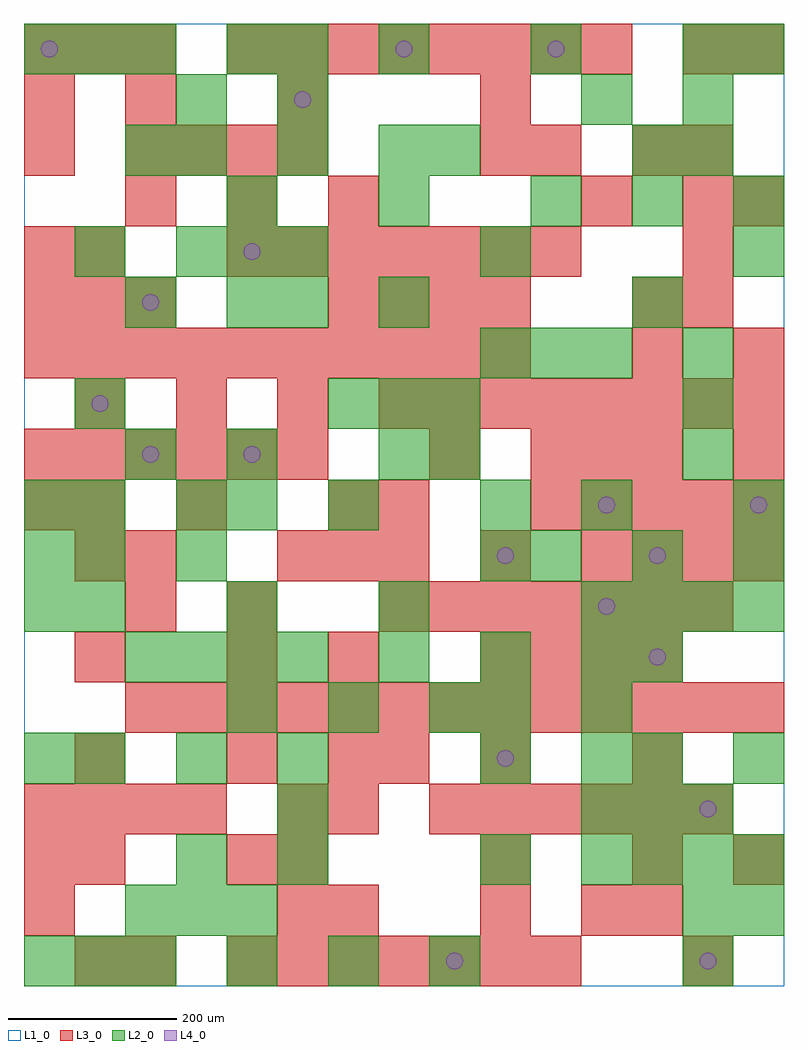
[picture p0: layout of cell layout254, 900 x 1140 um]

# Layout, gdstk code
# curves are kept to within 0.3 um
import gdstk
lib = gdstk.Library(unit=1e-6, precision=1e-09)
def R(c, l, rs):  # rectangles x0, y0, x1, y1
    for r in rs: c.add(gdstk.rectangle(r[:2], r[2:], *l))
def A(c, l, x, y, w, h, nx, ny, dx, dy):  # array of equal rectangles
    R(c, l, [(x+i*dx, y+j*dy, x+i*dx+w, y+j*dy+h) for i in range(nx) for j in range(ny)])
def P(c, l, *ps):  # polygons
    for p in ps: c.add(gdstk.Polygon(p, *l))
L1_0 = (1, 0)
L2_0 = (2, 0)
L3_0 = (3, 0)
L4_0 = (4, 0)

layout254 = lib.new_cell('layout254')
R(layout254, L1_0, [(0,0,900,1140)])
A(layout254, L2_0, 0, 0, 60, 60, 3, 2, 60, 1080)
A(layout254, L2_0, 240, 0, 60, 60, 3, 2, 120, 300)
A(layout254, L2_0, 120, 60, 60, 60, 3, 1, 60, 0)
A(layout254, L2_0, 660, 120, 60, 60, 4, 2, 60, 300)
A(layout254, L2_0, 660, 180, 60, 60, 3, 1, 60, 0)
A(layout254, L2_0, 60, 240, 60, 60, 3, 1, 120, 0)
A(layout254, L2_0, 840, 240, 60, 60, 1, 3, 0, 300)
A(layout254, L2_0, 120, 360, 60, 60, 4, 1, 60, 0)
A(layout254, L2_0, 420, 360, 60, 60, 3, 1, 120, 0)
A(layout254, L2_0, 0, 420, 60, 60, 1, 3, 0, 60)
A(layout254, L2_0, 60, 420, 60, 60, 3, 1, 180, 0)
A(layout254, L2_0, 600, 480, 60, 60, 3, 1, 120, 0)
A(layout254, L2_0, 120, 600, 60, 60, 1, 3, 0, 180)
A(layout254, L2_0, 780, 600, 60, 60, 1, 3, 0, 60)
A(layout254, L2_0, 360, 660, 60, 60, 3, 1, 60, 0)
A(layout254, L2_0, 540, 720, 60, 60, 3, 1, 60, 0)
A(layout254, L2_0, 180, 840, 60, 60, 3, 1, 60, 0)
A(layout254, L2_0, 240, 900, 60, 60, 3, 1, 180, 0)
A(layout254, L2_0, 180, 960, 60, 60, 3, 1, 120, 0)
A(layout254, L2_0, 420, 1080, 60, 60, 3, 1, 180, 0)
R(layout254, L2_0, [(780,0,840,60), (780,60,840,120), (840,60,900,120), (180,120,240,180), (300,120,360,180), (540,120,600,180), (300,180,360,240), (0,240,60,300), (540,240,600,300), (660,240,720,300), (720,240,780,300), (540,300,600,360), (660,300,720,360), (720,360,780,420), (60,480,120,540), (180,480,240,540), (540,480,600,540), (60,540,120,600), (180,540,240,600), (240,540,300,600), (360,540,420,600), (540,540,600,600), (660,540,720,600), (240,600,300,660), (420,600,480,660), (480,600,540,660), (60,660,120,720), (240,780,300,840), (300,780,360,840), (420,780,480,840), (720,780,780,840), (60,840,120,900), (540,840,600,900), (720,900,780,960), (840,900,900,960), (480,960,540,1020), (720,960,780,1020), (780,960,840,1020), (180,1020,240,1080), (300,1020,360,1080), (660,1020,720,1080), (780,1020,840,1080), (240,1080,300,1140), (300,1080,360,1140), (840,1080,900,1140)])
A(layout254, L3_0, 60, 0, 60, 60, 1, 5, 0, 120)
A(layout254, L3_0, 240, 0, 60, 60, 7, 2, 60, 840)
A(layout254, L3_0, 300, 60, 60, 60, 1, 3, 0, 60)
A(layout254, L3_0, 240, 120, 60, 60, 1, 3, 0, 120)
A(layout254, L3_0, 0, 180, 60, 60, 4, 1, 60, 0)
A(layout254, L3_0, 480, 180, 60, 60, 6, 1, 60, 0)
A(layout254, L3_0, 120, 300, 60, 60, 13, 1, 60, 0)
A(layout254, L3_0, 540, 360, 60, 60, 4, 1, 60, 0)
A(layout254, L3_0, 420, 420, 60, 60, 7, 1, 60, 0)
A(layout254, L3_0, 300, 480, 60, 60, 3, 1, 60, 0)
A(layout254, L3_0, 660, 480, 60, 60, 4, 1, 60, 0)
A(layout254, L3_0, 600, 540, 60, 60, 5, 1, 60, 0)
A(layout254, L3_0, 0, 600, 60, 60, 6, 1, 60, 0)
A(layout254, L3_0, 600, 600, 60, 60, 3, 1, 60, 0)
A(layout254, L3_0, 60, 660, 60, 60, 4, 1, 120, 0)
A(layout254, L3_0, 480, 660, 60, 60, 7, 1, 60, 0)
A(layout254, L3_0, 0, 720, 60, 60, 10, 1, 60, 0)
A(layout254, L3_0, 840, 720, 60, 60, 1, 3, 0, 180)
A(layout254, L3_0, 0, 780, 60, 60, 3, 2, 60, 300)
A(layout254, L3_0, 360, 780, 60, 60, 4, 1, 60, 0)
A(layout254, L3_0, 780, 780, 60, 60, 1, 4, 0, 60)
A(layout254, L3_0, 120, 900, 60, 60, 3, 1, 120, 0)
A(layout254, L3_0, 120, 960, 60, 60, 4, 1, 60, 0)
A(layout254, L3_0, 240, 1080, 60, 60, 8, 1, 60, 0)
R(layout254, L3_0, [(120,0,180,60), (780,0,840,60), (0,60,60,120), (360,60,420,120), (540,60,600,120), (660,60,720,120), (720,60,780,120), (0,120,60,180), (540,120,600,180), (720,120,780,180), (840,120,900,180), (360,180,420,240), (360,240,420,300), (420,240,480,300), (540,240,600,300), (720,240,780,300), (360,360,420,420), (120,420,180,480), (240,420,300,480), (120,480,180,540), (540,480,600,540), (0,540,60,600), (60,540,120,600), (180,540,240,600), (360,540,420,600), (420,540,480,600), (480,600,540,660), (840,600,900,660), (720,720,780,780), (720,780,780,840), (0,840,60,900), (60,840,120,900), (660,900,720,960), (0,960,60,1020), (540,960,600,1020), (600,960,660,1020), (720,960,780,1020), (0,1020,60,1080), (120,1020,180,1080), (300,1020,360,1080), (540,1020,600,1080), (780,1080,840,1140)])
P(layout254, L4_0, [(40,1110),(39.239,1113.827),(37.071,1117.071),(33.827,1119.239),(30,1120),(26.173,1119.239),(22.929,1117.071),(20.761,1113.827),(20,1110),(20.761,1106.173),(22.929,1102.929),(26.173,1100.761),(30,1100),(33.827,1100.761),(37.071,1102.929),(39.239,1106.173)],
  [(100,690),(99.239,693.827),(97.071,697.071),(93.827,699.239),(90,700),(86.173,699.239),(82.929,697.071),(80.761,693.827),(80,690),(80.761,686.173),(82.929,682.929),(86.173,680.761),(90,680),(93.827,680.761),(97.071,682.929),(99.239,686.173)],
  [(160,630),(159.239,633.827),(157.071,637.071),(153.827,639.239),(150,640),(146.173,639.239),(142.929,637.071),(140.761,633.827),(140,630),(140.761,626.173),(142.929,622.929),(146.173,620.761),(150,620),(153.827,620.761),(157.071,622.929),(159.239,626.173)],
  [(160,810),(159.239,813.827),(157.071,817.071),(153.827,819.239),(150,820),(146.173,819.239),(142.929,817.071),(140.761,813.827),(140,810),(140.761,806.173),(142.929,802.929),(146.173,800.761),(150,800),(153.827,800.761),(157.071,802.929),(159.239,806.173)],
  [(280,630),(279.239,633.827),(277.071,637.071),(273.827,639.239),(270,640),(266.173,639.239),(262.929,637.071),(260.761,633.827),(260,630),(260.761,626.173),(262.929,622.929),(266.173,620.761),(270,620),(273.827,620.761),(277.071,622.929),(279.239,626.173)],
  [(280,870),(279.239,873.827),(277.071,877.071),(273.827,879.239),(270,880),(266.173,879.239),(262.929,877.071),(260.761,873.827),(260,870),(260.761,866.173),(262.929,862.929),(266.173,860.761),(270,860),(273.827,860.761),(277.071,862.929),(279.239,866.173)],
  [(340,1050),(339.239,1053.827),(337.071,1057.071),(333.827,1059.239),(330,1060),(326.173,1059.239),(322.929,1057.071),(320.761,1053.827),(320,1050),(320.761,1046.173),(322.929,1042.929),(326.173,1040.761),(330,1040),(333.827,1040.761),(337.071,1042.929),(339.239,1046.173)],
  [(460,1110),(459.239,1113.827),(457.071,1117.071),(453.827,1119.239),(450,1120),(446.173,1119.239),(442.929,1117.071),(440.761,1113.827),(440,1110),(440.761,1106.173),(442.929,1102.929),(446.173,1100.761),(450,1100),(453.827,1100.761),(457.071,1102.929),(459.239,1106.173)],
  [(520,30),(519.239,33.827),(517.071,37.071),(513.827,39.239),(510,40),(506.173,39.239),(502.929,37.071),(500.761,33.827),(500,30),(500.761,26.173),(502.929,22.929),(506.173,20.761),(510,20),(513.827,20.761),(517.071,22.929),(519.239,26.173)],
  [(580,270),(579.239,273.827),(577.071,277.071),(573.827,279.239),(570,280),(566.173,279.239),(562.929,277.071),(560.761,273.827),(560,270),(560.761,266.173),(562.929,262.929),(566.173,260.761),(570,260),(573.827,260.761),(577.071,262.929),(579.239,266.173)],
  [(580,510),(579.239,513.827),(577.071,517.071),(573.827,519.239),(570,520),(566.173,519.239),(562.929,517.071),(560.761,513.827),(560,510),(560.761,506.173),(562.929,502.929),(566.173,500.761),(570,500),(573.827,500.761),(577.071,502.929),(579.239,506.173)],
  [(640,1110),(639.239,1113.827),(637.071,1117.071),(633.827,1119.239),(630,1120),(626.173,1119.239),(622.929,1117.071),(620.761,1113.827),(620,1110),(620.761,1106.173),(622.929,1102.929),(626.173,1100.761),(630,1100),(633.827,1100.761),(637.071,1102.929),(639.239,1106.173)],
  [(700,450),(699.239,453.827),(697.071,457.071),(693.827,459.239),(690,460),(686.173,459.239),(682.929,457.071),(680.761,453.827),(680,450),(680.761,446.173),(682.929,442.929),(686.173,440.761),(690,440),(693.827,440.761),(697.071,442.929),(699.239,446.173)],
  [(700,570),(699.239,573.827),(697.071,577.071),(693.827,579.239),(690,580),(686.173,579.239),(682.929,577.071),(680.761,573.827),(680,570),(680.761,566.173),(682.929,562.929),(686.173,560.761),(690,560),(693.827,560.761),(697.071,562.929),(699.239,566.173)],
  [(760,390),(759.239,393.827),(757.071,397.071),(753.827,399.239),(750,400),(746.173,399.239),(742.929,397.071),(740.761,393.827),(740,390),(740.761,386.173),(742.929,382.929),(746.173,380.761),(750,380),(753.827,380.761),(757.071,382.929),(759.239,386.173)],
  [(760,510),(759.239,513.827),(757.071,517.071),(753.827,519.239),(750,520),(746.173,519.239),(742.929,517.071),(740.761,513.827),(740,510),(740.761,506.173),(742.929,502.929),(746.173,500.761),(750,500),(753.827,500.761),(757.071,502.929),(759.239,506.173)],
  [(820,30),(819.239,33.827),(817.071,37.071),(813.827,39.239),(810,40),(806.173,39.239),(802.929,37.071),(800.761,33.827),(800,30),(800.761,26.173),(802.929,22.929),(806.173,20.761),(810,20),(813.827,20.761),(817.071,22.929),(819.239,26.173)],
  [(820,210),(819.239,213.827),(817.071,217.071),(813.827,219.239),(810,220),(806.173,219.239),(802.929,217.071),(800.761,213.827),(800,210),(800.761,206.173),(802.929,202.929),(806.173,200.761),(810,200),(813.827,200.761),(817.071,202.929),(819.239,206.173)],
  [(880,570),(879.239,573.827),(877.071,577.071),(873.827,579.239),(870,580),(866.173,579.239),(862.929,577.071),(860.761,573.827),(860,570),(860.761,566.173),(862.929,562.929),(866.173,560.761),(870,560),(873.827,560.761),(877.071,562.929),(879.239,566.173)])

lib.write_gds('layout254.gds')
